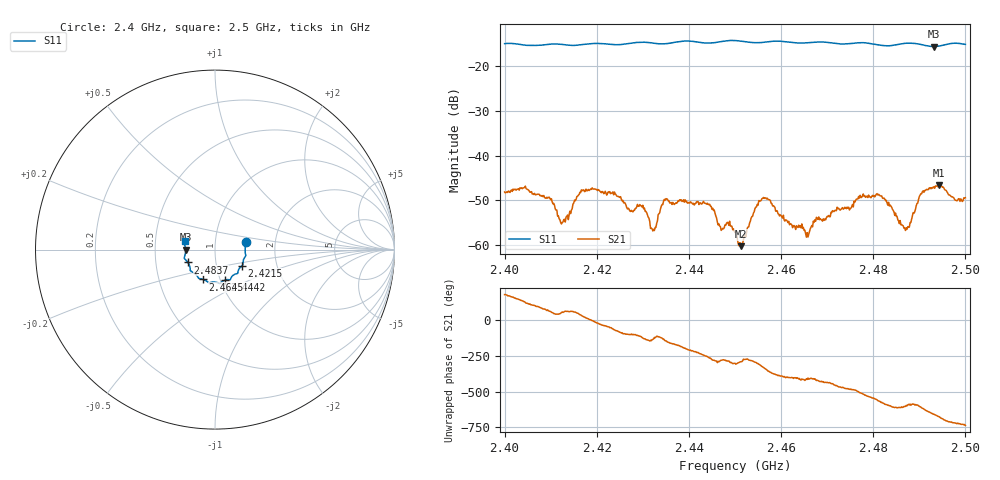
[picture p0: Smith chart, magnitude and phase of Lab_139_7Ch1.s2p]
# Hz S RI R 50
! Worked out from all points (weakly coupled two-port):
!   601 points, 2.4 GHz to 2.5 GHz, reference 50 ohm
!   highest |S21| = -46.63 dB at 2.4943 GHz (marker M1); lowest = -60.2 dB at 2.4513 GHz (marker M2)
!   lowest |S11| = -15.7 dB at 2.4932 GHz (marker M3), VSWR 1.39, Z = 35.9 - j0.0609 ohm
!   |S11| at or under -10 dB: start of sweep to end of sweep
!   S12 and S22 are empty: the file has one direction only
!   S11 on the Smith chart (normalised r, x): 2.4 GHz: 1.41, +0.12; 2.4215 GHz: 1.33, -0.25; 2.4442 GHz: 1.05, -0.37; 2.4645 GHz: 0.83, -0.29; 2.4837 GHz: 0.73, -0.11; 2.5 GHz: 0.71, +0.07
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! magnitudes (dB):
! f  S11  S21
! 2.4 GHz  -15.1  -48.1
! 2.4097 GHz  -15.2  -49.3
! 2.4127 GHz  -15.3  -54.8
! 2.4167 GHz  -15.3  -47.6
! 2.4215 GHz  -15.1  -48.5
! 2.4298 GHz  -14.8  -51.5
! 2.4322 GHz  -15.0  -56.8
! 2.4333 GHz  -15.1  -53.1
! 2.435 GHz  -15.1  -49.6
! 2.4442 GHz  -15.0  -50.9
! 2.45 GHz  -14.4  -57.2
! 2.4513 GHz  -14.5  -60.2
! 2.4563 GHz  -14.8  -49.6
! 2.4645 GHz  -15.0  -55.2
! 2.4667 GHz  -14.8  -55.6
! 2.4773 GHz  -14.9  -49.4
! 2.4833 GHz  -15.6  -50.4
! 2.4837 GHz  -15.5  -51.0
! 2.4873 GHz  -15.0  -56.4
! 2.4932 GHz  -15.7  -46.9
! 2.4943 GHz  -15.6  -46.6
! 2.5 GHz  -15.3  -49.4
